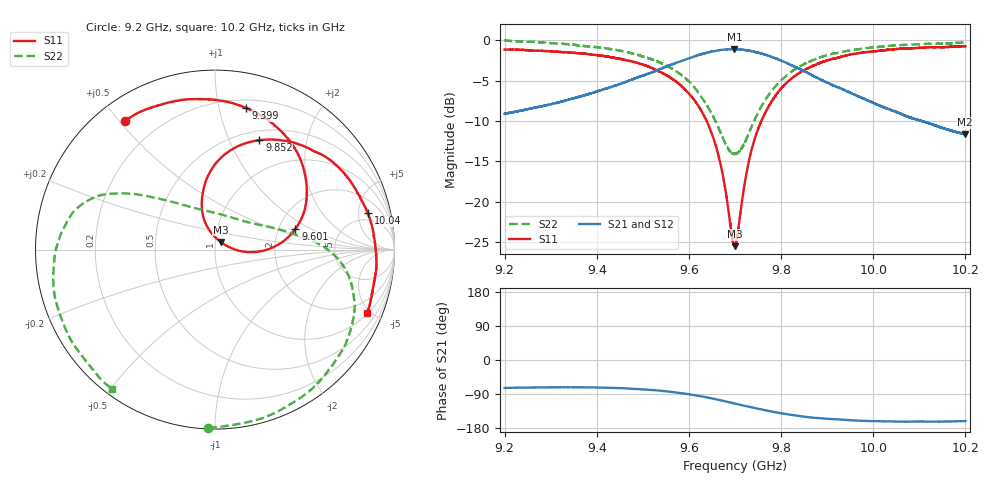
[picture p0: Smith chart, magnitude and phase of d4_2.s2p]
!Agilent Technologies,N5242A,MY51221714,A.09.90.19
!Agilent N5242A: A.09.90.19
!Date: Friday, February 02, 2024 13:16:03
!Correction: S11(Full 2 Port(1,2))
!S21(Full 2 Port(1,2))
!S12(Full 2 Port(1,2))
!S22(Full 2 Port(1,2))
!S2P File: Measurements: S11, S21, S12, S22:
# Hz S  dB  R 50
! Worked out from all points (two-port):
!   16001 points, 9.2 GHz to 10.2 GHz, reference 50 ohm
!   highest |S21| = -1.11 dB at 9.699 GHz (marker M1); lowest = -11.7 dB at 10.2 GHz (marker M2)
!   |S21| within 3 dB of the highest: 9.513892 GHz to 9.514176 GHz (283.9 kHz wide, 0.00298 % of centre); 9.514 GHz to 9.86 GHz (345.4 MHz wide, 3.57 % of centre)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
!   lowest |S11| = -25.5 dB at 9.699 GHz (marker M3), VSWR 1.11, Z = 53.1 + j4.55 ohm
!   |S11| at or under -10 dB: 9.638 GHz to 9.757 GHz (118.7 MHz wide, 1.22 % of centre)
!   |S22| runs from -14.1 to 0.0 dB; largest |S21 - S12| = 0.023
!   S11 on the Smith chart (normalised r, x): 9.2 GHz: 0.08, +0.52; 9.399 GHz: 0.26, +1.20; 9.601 GHz: 2.47, +0.73; 9.852 GHz: 0.60, +1.30; 10.04 GHz: 3.73, +6.44; 10.2 GHz: 1.07, -4.76
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9.2e9  -1.16 125.1  -9.11 -73.6  -9.07 -74.9  -0.06 -92.1
9.275688e9  -1.31 107.6  -8.22 -72.4  -8.21 -73.6  -0.24 -71.0
9.366688e9  -1.64 86.0  -6.92 -72.1  -6.90 -73.4  -0.69 -46.9
9.39875e9  -1.85 77.8  -6.38 -72.6  -6.36 -73.9  -0.87 -38.7
9.463875e9  -2.48 59.9  -5.15 -74.9  -5.14 -76.1  -1.46 -23.2
9.533375e9  -3.81 38.5  -3.68 -80.5  -3.64 -81.7  -2.67 -8.6
9.601125e9  -6.68 14.5  -2.21 -90.6  -2.19 -91.9  -5.17 4.8
9.65725e9  -12.87 -3.3  -1.34 -103.3  -1.31 -104.5  -9.98 23.9
9.69875e9  -25.37 50.3  -1.11 -114.7  -1.09 -116.0  -14.10 73.6
9.699375e9  -25.49 53.5  -1.12 -114.9  -1.09 -116.2  -14.09 74.7
9.7e9  -25.40 56.9  -1.12 -115.0  -1.09 -116.4  -14.07 75.5
9.729e9  -15.26 110.0  -1.29 -123.2  -1.26 -124.6  -11.66 116.9
9.753062e9  -10.56 104.0  -1.60 -129.6  -1.57 -131.0  -8.65 133.1
9.796625e9  -6.23 88.7  -2.45 -139.9  -2.45 -141.2  -5.17 145.8
9.8525e9  -3.64 67.9  -3.89 -149.8  -3.88 -151.2  -2.90 155.4
9.866688e9  -3.24 62.9  -4.32 -151.8  -4.30 -153.1  -2.53 157.9
9.941188e9  -1.89 39.8  -6.27 -158.3  -6.26 -159.7  -1.37 172.5
1.003338e10  -1.19 14.8  -8.53 -162.1  -8.51 -163.5  -0.70 -167.5
1.003944e10  -1.16 13.3  -8.66 -162.3  -8.64 -163.6  -0.67 -166.1
1.01185e10  -0.88 -4.6  -10.23 -162.5  -10.21 -163.9  -0.47 -146.9
1.019931e10  -0.75 -22.4  -11.67 -161.3  -11.63 -162.8  -0.30 -126.5
1.02e10  -0.75 -22.7  -11.66 -161.3  -11.65 -162.8  -0.30 -126.3
